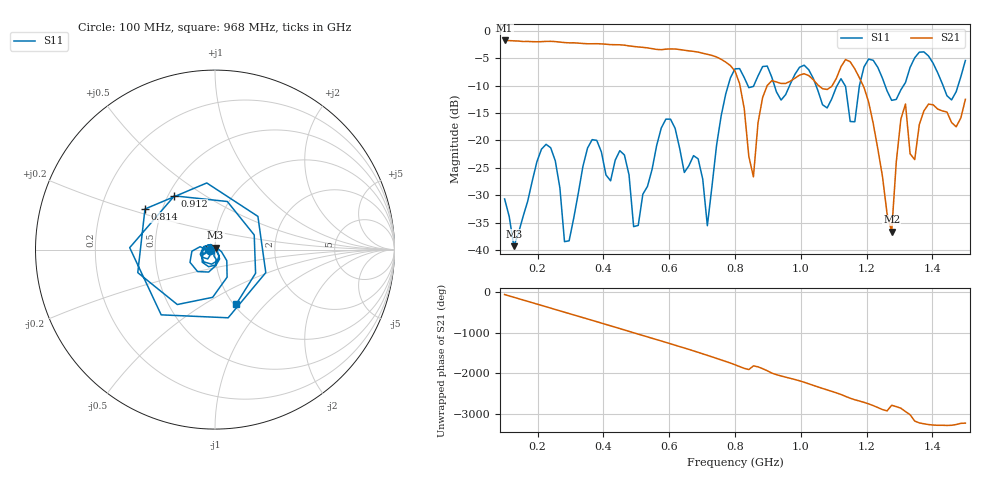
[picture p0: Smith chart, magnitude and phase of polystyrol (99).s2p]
! NanoVNA-App
! Date: 2025-09-26 09:42:39
! Start: 100MHz Stop: 1,5GHz Points: 101
! S-Parameter data: F S11 S21 S12 S22
# Hz S RI R 50
!  Frequency  S11_Real  S11_Imag  S21_Real  S21_Imag  S12_Real  S12_Imag  S22_Real  S22_Imag
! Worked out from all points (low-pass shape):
!   101 points, 100 MHz to 1.5 GHz, reference 50 ohm
!   highest |S21| = -1.79 dB at 100 MHz (marker M1); lowest = -36.6 dB at 1.276 GHz (marker M2)
!   |S21| within 3 dB of the highest: start of sweep to 743.3 MHz
!   lowest |S11| = -39.3 dB at 128 MHz (marker M3), VSWR 1.02, Z = 50.3 + j1.06 ohm
!   |S11| at or under -10 dB: start of sweep to 779.3 MHz; 1.046 GHz to 1.11 GHz (64.28 MHz wide, 5.96 % of centre); 1.134 GHz to 1.178 GHz (43.76 MHz wide, 3.78 % of centre)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
!   S12 and S22 are empty: the file has one direction only
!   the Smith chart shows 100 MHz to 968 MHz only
!   S11 on the Smith chart (normalised r, x): 100 MHz: 0.94, -0.01; 814 MHz: 0.40, +0.23; 912 MHz: 0.54, +0.38; 968 MHz: 1.03, -0.70
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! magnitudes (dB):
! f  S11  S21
! 100 MHz  -30.7  -1.8
! 128 MHz  -39.3  -1.9
! 212 MHz  -21.6  -2.0
! 254 MHz  -23.7  -2.0
! 282 MHz  -38.4  -2.2
! 338 MHz  -24.7  -2.3
! 464 MHz  -22.6  -2.6
! 506 MHz  -35.5  -3.0
! 576 MHz  -17.7  -3.5
! 688 MHz  -23.4  -3.9
! 716 MHz  -35.5  -4.3
! 800 MHz  -7.0  -7.4
! 814 MHz  -6.9  -9.7
! 856 MHz  -10.2  -26.6
! 912 MHz  -8.5  -9.1
! 968 MHz  -9.7  -9.2
! 1.038 GHz  -8.7  -8.9
! 1.178 GHz  -10.0  -8.6
! 1.276 GHz  -12.7  -36.6
! 1.318 GHz  -9.4  -13.4
! 1.346 GHz  -4.9  -23.5
! 1.5 GHz  -5.4  -12.5
